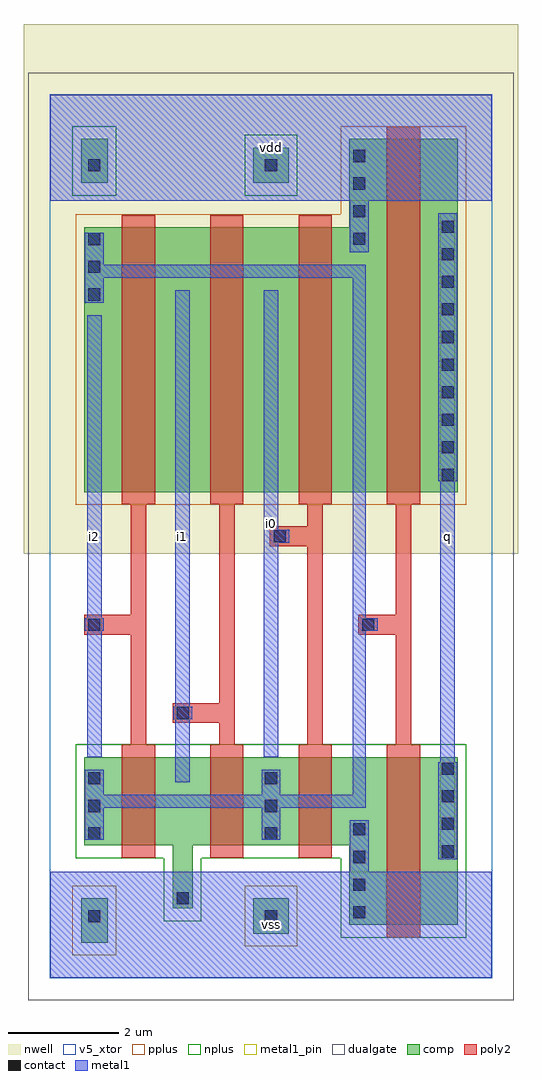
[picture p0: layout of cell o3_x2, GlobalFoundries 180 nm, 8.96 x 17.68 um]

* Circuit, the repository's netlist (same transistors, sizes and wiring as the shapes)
* o3_x2
.subckt o3_x2 vdd q vss i0 i1 i2
Mp_net1_1 vdd _net1 q vdd pfet_06v0 l=0.6um w=6.4um
Mn_net1_1 vss _net1 q vss nfet_06v0 l=0.6um w=3.04um
Mn_i0_1 _net1 i0 vss vss nfet_06v0 l=0.6um w=1.6um
Mp_i0_1 _net2 i0 vdd vdd pfet_06v0 l=0.6um w=4.8um
Mn_i1_1 vss i1 _net1 vss nfet_06v0 l=0.6um w=1.6um
Mp_i1_1 _net0 i1 _net2 vdd pfet_06v0 l=0.6um w=4.8um
Mp_i2_1 _net1 i2 _net0 vdd pfet_06v0 l=0.6um w=4.8um
Mn_i2_1 _net1 i2 vss vss nfet_06v0 l=0.6um w=1.6um
.ends o3_x2

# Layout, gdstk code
import gdstk
lib = gdstk.Library(unit=1e-6, precision=1e-09)
def R(c, l, rs):  # rectangles x0, y0, x1, y1
    for r in rs: c.add(gdstk.rectangle(r[:2], r[2:], *l))
def A(c, l, x, y, w, h, nx, ny, dx, dy):  # array of equal rectangles
    R(c, l, [(x+i*dx, y+j*dy, x+i*dx+w, y+j*dy+h) for i in range(nx) for j in range(ny)])
def P(c, l, *ps):  # polygons
    for p in ps: c.add(gdstk.Polygon(p, *l))
nwell = (21, 0)
comp = (22, 0)
poly2 = (30, 0)
pplus = (31, 0)
nplus = (32, 0)
contact = (33, 0)
metal1 = (34, 0)
metal1_pin = (34, 10)
dualgate = (55, 0)
v5_xtor = (112, 1)

o3_x2 = lib.new_cell('o3_x2')
R(o3_x2, nwell, [(-0.48,7.68,8.48,17.28)])
R(o3_x2, comp, [(0.56,0.64,1.04,1.44), (3.68,0.8,4.32,1.44), (0.56,14.4,1.04,15.2), (3.68,14.4,4.32,15.04)])
P(o3_x2, comp, [(0.62,8.8),(0.62,13.6),(5.42,13.6),(5.42,15.2),(7.38,15.2),(7.38,8.8)],
  [(5.42,0.96),(5.42,2.4),(2.58,2.4),(2.58,1.26),(2.22,1.26),(2.22,2.4),(0.62,2.4),(0.62,4),(7.38,4),(7.38,0.96)])
P(o3_x2, poly2, [(6.1,0.74),(6.1,4.22),(6.26,4.22),(6.26,6.22),(5.58,6.22),(5.58,6.58),(6.26,6.58),(6.26,8.58),(6.1,8.58),(6.1,15.42),(6.7,15.42),(6.7,8.58),(6.54,8.58),(6.54,4.22),(6.7,4.22),(6.7,0.74)],
  [(4.5,2.18),(4.5,4.22),(4.66,4.22),(4.66,7.82),(3.98,7.82),(3.98,8.18),(4.66,8.18),(4.66,8.58),(4.5,8.58),(4.5,13.82),(5.1,13.82),(5.1,8.58),(4.94,8.58),(4.94,4.22),(5.1,4.22),(5.1,2.18)],
  [(2.9,2.18),(2.9,4.22),(3.06,4.22),(3.06,4.62),(2.22,4.62),(2.22,4.98),(3.06,4.98),(3.06,8.58),(2.9,8.58),(2.9,13.82),(3.5,13.82),(3.5,8.58),(3.34,8.58),(3.34,4.22),(3.5,4.22),(3.5,2.18)],
  [(1.3,2.18),(1.3,4.22),(1.46,4.22),(1.46,6.22),(0.62,6.22),(0.62,6.58),(1.46,6.58),(1.46,8.58),(1.3,8.58),(1.3,13.82),(1.9,13.82),(1.9,8.58),(1.74,8.58),(1.74,4.22),(1.9,4.22),(1.9,2.18)])
R(o3_x2, pplus, [(0.4,0.41,1.2,1.67), (3.52,0.57,4.48,1.67)])
P(o3_x2, pplus, [(0.46,8.57),(0.46,13.83),(5.26,13.83),(5.26,15.43),(7.54,15.43),(7.54,8.57)])
R(o3_x2, nplus, [(0.4,14.17,1.2,15.43), (3.52,14.17,4.48,15.27)])
P(o3_x2, nplus, [(5.26,0.73),(5.26,2.17),(2.74,2.17),(2.74,1.03),(2.06,1.03),(2.06,2.17),(0.46,2.17),(0.46,4.23),(7.54,4.23),(7.54,0.73)])
A(o3_x2, contact, 5.49, 1.08, 0.22, 0.22, 1, 4, 0, 0.5)
A(o3_x2, contact, 7.09, 2.18, 0.22, 0.22, 1, 4, 0, 0.5)
A(o3_x2, contact, 0.69, 2.505, 0.22, 0.22, 1, 3, 0, 0.5)
A(o3_x2, contact, 3.89, 2.505, 0.22, 0.22, 1, 3, 0, 0.5)
A(o3_x2, contact, 7.09, 9, 0.22, 0.22, 1, 10, 0, 0.5)
A(o3_x2, contact, 0.69, 12.27, 0.22, 0.22, 1, 3, 0, 0.5)
A(o3_x2, contact, 5.49, 13.28, 0.22, 0.22, 1, 4, 0, 0.5)
R(o3_x2, contact, [(0.69,1.01,0.91,1.23), (3.89,1.01,4.11,1.23), (2.29,1.33,2.51,1.55), (2.29,4.69,2.51,4.91), (0.69,6.29,0.91,6.51), (5.65,6.29,5.87,6.51), (4.05,7.89,4.27,8.11), (0.69,14.61,0.91,14.83), (3.89,14.61,4.11,14.83)])
P(o3_x2, metal1, [(5.43,13.145),(5.43,14.08),(0,14.08),(0,16),(8,16),(8,14.08),(5.77,14.08),(5.77,13.145)],
  [(7.03,2.15),(7.03,3.905),(7.07,3.905),(7.07,8.995),(7.03,8.995),(7.03,13.85),(7.37,13.85),(7.37,8.995),(7.33,8.995),(7.33,3.905),(7.37,3.905),(7.37,2.15)],
  [(0.63,2.5),(0.63,3.77),(0.97,3.77),(0.97,3.315),(3.83,3.315),(3.83,3.77),(4.17,3.77),(4.17,3.315),(5.485,3.315),(5.485,12.685),(0.97,12.685),(0.97,12.23),(0.63,12.23),(0.63,13.495),(0.97,13.495),(0.97,12.915),(5.715,12.915),(5.715,6.515),(5.93,6.515),(5.93,6.285),(5.715,6.285),(5.715,3.085),(4.17,3.085),(4.17,2.5),(3.83,2.5),(3.83,3.085),(0.97,3.085),(0.97,2.5)],
  [(0,0),(0,1.92),(5.43,1.92),(5.43,2.855),(5.77,2.855),(5.77,1.92),(8,1.92),(8,0)],
  [(3.87,4),(3.87,12.455),(4.13,12.455),(4.13,8.115),(4.33,8.115),(4.33,7.885),(4.13,7.885),(4.13,4)],
  [(2.27,3.545),(2.27,4.685),(2.23,4.685),(2.23,4.915),(2.27,4.915),(2.27,12.455),(2.53,12.455),(2.53,4.915),(2.57,4.915),(2.57,4.685),(2.53,4.685),(2.53,3.545)],
  [(0.67,4),(0.67,6.285),(0.63,6.285),(0.63,6.515),(0.67,6.515),(0.67,12),(0.93,12),(0.93,6.515),(0.97,6.515),(0.97,6.285),(0.93,6.285),(0.93,4)])
R(o3_x2, metal1_pin, [(0,0,8,1.92), (7.07,2.15,7.33,13.85), (2.27,3.545,2.53,12.455), (0.67,4,0.93,12), (3.87,4,4.13,12.455), (0,14.08,8,16)])
R(o3_x2, dualgate, [(-0.4,-0.4,8.4,16.4)])
R(o3_x2, v5_xtor, [(-0.005,-0.005,8.005,16.005)])
o3_x2.add(gdstk.Label('vdd', (4,15.04), layer=34, texttype=10))
o3_x2.add(gdstk.Label('q', (7.2,8), layer=34, texttype=10))
o3_x2.add(gdstk.Label('vss', (4,0.96), layer=34, texttype=10))
o3_x2.add(gdstk.Label('i0', (4,8.228), layer=34, texttype=10))
o3_x2.add(gdstk.Label('i1', (2.4,8), layer=34, texttype=10))
o3_x2.add(gdstk.Label('i2', (0.8,8), layer=34, texttype=10))

lib.write_gds('o3_x2.gds')
